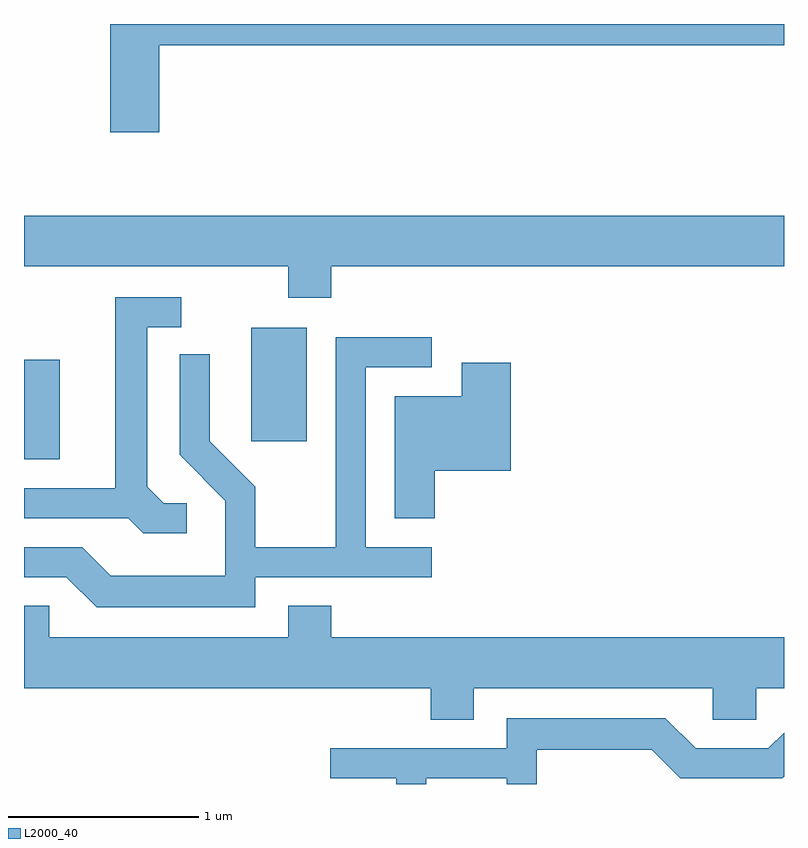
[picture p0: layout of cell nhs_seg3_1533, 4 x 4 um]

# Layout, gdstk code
import gdstk
lib = gdstk.Library(unit=1e-6, precision=1e-09)
def R(c, l, rs):  # rectangles x0, y0, x1, y1
    for r in rs: c.add(gdstk.rectangle(r[:2], r[2:], *l))
def P(c, l, *ps):  # polygons
    for p in ps: c.add(gdstk.Polygon(p, *l))
L2000_40 = (2000, 40)

nhs_seg3_1533 = lib.new_cell('nhs_seg3_1533')
R(nhs_seg3_1533, L2000_40, [(229.611,1191.601,229.799,1192.124), (230.806,1191.696,231.099,1192.294)])
P(nhs_seg3_1533, L2000_40, [(230.324,1193.781),(233.611,1193.781),(233.611,1193.892),(230.066,1193.892),(230.066,1193.321),(230.324,1193.321)],
  [(231.229,1192.616),(233.611,1192.616),(233.611,1192.884),(229.611,1192.884),(229.611,1192.616),(231.001,1192.616),(231.001,1192.451),(231.229,1192.451)],
  [(230.468,1191.369),(230.347,1191.369),(230.259,1191.457),(230.259,1192.296),(230.438,1192.296),(230.438,1192.454),(230.091,1192.454),(230.091,1191.449),(229.611,1191.449),(229.611,1191.291),(230.159,1191.291),(230.239,1191.211),(230.468,1191.211)],
  [(230.829,1190.981),(231.758,1190.981),(231.758,1191.139),(231.409,1191.139),(231.409,1192.086),(231.758,1192.086),(231.758,1192.244),(231.251,1192.244),(231.251,1191.139),(230.829,1191.139),(230.829,1191.457),(230.589,1191.697),(230.589,1192.153),(230.431,1192.153),(230.431,1191.624),(230.671,1191.384),(230.671,1190.989),(230.067,1190.989),(229.917,1191.139),(229.611,1191.139),(229.611,1190.981),(229.834,1190.981),(229.994,1190.821),(230.829,1190.821)],
  [(231.774,1191.541),(232.174,1191.541),(232.174,1192.109),(231.916,1192.109),(231.916,1191.934),(231.561,1191.934),(231.561,1191.291),(231.774,1191.291)],
  [(231.229,1190.829),(231.001,1190.829),(231.001,1190.664),(229.744,1190.664),(229.744,1190.829),(229.611,1190.829),(229.611,1190.396),(231.751,1190.396),(231.751,1190.231),(231.979,1190.231),(231.979,1190.396),(233.236,1190.396),(233.236,1190.231),(233.464,1190.231),(233.464,1190.396),(233.611,1190.396),(233.611,1190.664),(231.229,1190.664)],
  [(231.729,1189.921),(232.151,1189.921),(232.151,1189.892),(232.309,1189.892),(232.309,1190.071),(232.914,1190.071),(233.064,1189.921),(233.602,1189.921),(233.611,1189.93),(233.611,1190.161),(233.529,1190.079),(233.147,1190.079),(232.987,1190.239),(232.151,1190.239),(232.151,1190.079),(231.223,1190.079),(231.223,1189.921),(231.571,1189.921),(231.571,1189.892),(231.729,1189.892)])

lib.write_gds('nhs_seg3_1533.gds')
